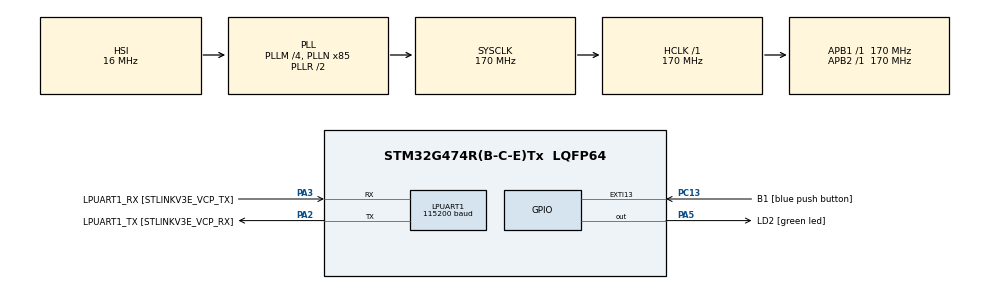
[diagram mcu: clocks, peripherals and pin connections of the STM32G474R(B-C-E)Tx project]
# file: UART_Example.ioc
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LPUART1.BaudRate=115200
LPUART1.WordLength=UART_WORDLENGTH_8B
Mcu.Family=STM32G4
Mcu.Name=STM32G474R(B-C-E)Tx
Mcu.Package=LQFP64
NVIC.EXTI15_10_IRQn=true\:0\:0\:false\:false\:true\:true\:true
NVIC.PriorityGroup=NVIC_PRIORITYGROUP_4
PA13.GPIO_Label=T_SWDIO
PA13.Mode=Serial_Wire
PA13.Signal=SYS_JTMS-SWDIO
PA14.GPIO_Label=T_SWCLK
PA14.Mode=Serial_Wire
PA14.Signal=SYS_JTCK-SWCLK
PA2.GPIO_Label=LPUART1_TX [STLINKV3E_VCP_RX]
PA2.Mode=Asynchronous
PA2.Signal=LPUART1_TX
PA3.GPIO_Label=LPUART1_RX [STLINKV3E_VCP_TX]
PA3.Mode=Asynchronous
PA3.Signal=LPUART1_RX
PA5.GPIO_Label=LD2 [green led]
PA5.Signal=GPIO_Output
PB3.GPIO_Label=T_SWO
PB3.Signal=SYS_JTDO-SWO
PC13.GPIO_Label=B1 [blue push button]
PC13.Signal=GPXTI13
PC14-OSC32_IN.Mode=LSE-External-Oscillator
PC14-OSC32_IN.Signal=RCC_OSC32_IN
PC15-OSC32_OUT.Mode=LSE-External-Oscillator
PC15-OSC32_OUT.Signal=RCC_OSC32_OUT
PF0-OSC_IN.Mode=HSE-External-Oscillator
PF0-OSC_IN.Signal=RCC_OSC_IN
PF1-OSC_OUT.Mode=HSE-External-Oscillator
PF1-OSC_OUT.Signal=RCC_OSC_OUT
ProjectManager.HeapSize=0x200
ProjectManager.StackSize=0x400
ProjectManager.TargetToolchain=STM32CubeIDE
RCC.ADC12Freq_Value=170000000
RCC.ADC345Freq_Value=170000000
RCC.AHBFreq_Value=170000000
RCC.APB1Freq_Value=170000000
RCC.APB1TimFreq_Value=170000000
RCC.APB2Freq_Value=170000000
RCC.APB2TimFreq_Value=170000000
RCC.CortexFreq_Value=170000000
RCC.EXTERNAL_CLOCK_VALUE=12288000
RCC.HCLKFreq_Value=170000000
RCC.HSE_VALUE=24000000
RCC.HSI48_VALUE=48000000
RCC.HSI_VALUE=16000000
RCC.PLLM=RCC_PLLM_DIV4
RCC.PLLN=85
RCC.RTCClockSelection=RCC_RTCCLKSOURCE_LSE
RCC.SYSCLKFreq_VALUE=170000000
RCC.SYSCLKSource=RCC_SYSCLKSOURCE_PLLCLK
RCC.USBFreq_Value=170000000
RCC.VCOOutputFreq_Value=340000000
VP_SYS_VS_DBSignals.Mode=DisableDeadBatterySignals
board=NUCLEO-G474RE

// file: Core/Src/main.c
/* USER CODE BEGIN Header */
/**
  ******************************************************************************
  * @file    UART/UART_Printf/Src/main.c
  * @author  MCD Application Team
  * @brief   This example shows how to retarget the C library printf function
  *          to the UART.
  ******************************************************************************
  * @attention
  *
  * <h2><center>&copy; Copyright (c) 2019 STMicroelectronics.
  * All rights reserved.</center></h2>
  *
  * This software component is licensed by ST under BSD 3-Clause license,
  * the "License"; You may not use this file except in compliance with the
  * License. You may obtain a copy of the License at:
  *                        opensource.org/licenses/BSD-3-Clause
  *
  ******************************************************************************
  */
/* USER CODE END Header */
#include "main.h"

UART_HandleTypeDef hlpuart1;

void SystemClock_Config(void);
static void MX_GPIO_Init(void);
static void MX_LPUART1_UART_Init(void);
/* USER CODE BEGIN PFP */
#ifdef __GNUC__
/* With GCC, small printf (option LD Linker->Libraries->Small printf
   set to 'Yes') calls __io_putchar() */
#define PUTCHAR_PROTOTYPE int __io_putchar(int ch)
#define GETCHAR_PROTOTYPE int __io_getchar()
#else
#define PUTCHAR_PROTOTYPE int fputc(int ch, FILE *f)
#endif /* __GNUC__ */
/* USER CODE END PFP */

int main(void)
{
  /* USER CODE BEGIN 1 */

  /* STM32G4xx HAL library initialization:
       - Configure the Flash prefetch
       - Systick timer is configured by default as source of time base, but user
         can eventually implement his proper time base source (a general purpose
         timer for example or other time source), keeping in mind that Time base
         duration should be kept 1ms since PPP_TIMEOUT_VALUEs are defined and
         handled in milliseconds basis.
       - Set NVIC Group Priority to 4
       - Low Level Initialization
     */
  /* USER CODE END 1 */

  /* MCU Configuration--------------------------------------------------------*/

  /* Reset of all peripherals, Initializes the Flash interface and the Systick. */
  HAL_Init();

  /* Configure the system clock */
  SystemClock_Config();

  /* USER CODE BEGIN SysInit */
  /* Initialize BSP Led for LED2 */
  BSP_LED_Init(LED2);
  /* USER CODE END SysInit */

  /* Initialize all configured peripherals */
  MX_GPIO_Init();
  MX_LPUART1_UART_Init();
  /* USER CODE BEGIN 2 */

  /* Output a message on Hyperterminal using printf function */
  printf("\n\r UART Printf Example: retarget the C library printf function to the UART\n\r");
  printf("** Test finished successfully. ** \n\r");

  char str[20];

  setvbuf(stdin, NULL, _IONBF, 0);

  /* USER CODE END 2 */

  /* Infinite loop */
  /* USER CODE BEGIN WHILE */
  while (1)
  {
	printf("\n\r Enter your name:\n\r");

	scanf("%s",str);

	printf("\n\r Your name is: %s \n\r",str);

    /* USER CODE END WHILE */

  }
}

void SystemClock_Config(void)
{
  RCC_OscInitTypeDef RCC_OscInitStruct = {0};
  RCC_ClkInitTypeDef RCC_ClkInitStruct = {0};
  RCC_PeriphCLKInitTypeDef PeriphClkInit = {0};

  /** Configure the main internal regulator output voltage
  */
  HAL_PWREx_ControlVoltageScaling(PWR_REGULATOR_VOLTAGE_SCALE1_BOOST);
  /** Initializes the RCC Oscillators according to the specified parameters
  * in the RCC_OscInitTypeDef structure.
  */
  RCC_OscInitStruct.OscillatorType = RCC_OSCILLATORTYPE_HSI;
  RCC_OscInitStruct.HSIState = RCC_HSI_ON;
  RCC_OscInitStruct.HSICalibrationValue = RCC_HSICALIBRATION_DEFAULT;
  RCC_OscInitStruct.PLL.PLLState = RCC_PLL_ON;
  RCC_OscInitStruct.PLL.PLLSource = RCC_PLLSOURCE_HSI;
  RCC_OscInitStruct.PLL.PLLM = RCC_PLLM_DIV4;
  RCC_OscInitStruct.PLL.PLLN = 85;
  RCC_OscInitStruct.PLL.PLLP = RCC_PLLP_DIV2;
  RCC_OscInitStruct.PLL.PLLQ = RCC_PLLQ_DIV2;
  RCC_OscInitStruct.PLL.PLLR = RCC_PLLR_DIV2;
  if (HAL_RCC_OscConfig(&RCC_OscInitStruct) != HAL_OK)
  {
    Error_Handler();
  }
  /** Initializes the CPU, AHB and APB buses clocks
  */
  RCC_ClkInitStruct.ClockType = RCC_CLOCKTYPE_HCLK|RCC_CLOCKTYPE_SYSCLK
                              |RCC_CLOCKTYPE_PCLK1|RCC_CLOCKTYPE_PCLK2;
  RCC_ClkInitStruct.SYSCLKSource = RCC_SYSCLKSOURCE_PLLCLK;
  RCC_ClkInitStruct.AHBCLKDivider = RCC_SYSCLK_DIV1;
  RCC_ClkInitStruct.APB1CLKDivider = RCC_HCLK_DIV1;
  RCC_ClkInitStruct.APB2CLKDivider = RCC_HCLK_DIV1;

  if (HAL_RCC_ClockConfig(&RCC_ClkInitStruct, FLASH_LATENCY_4) != HAL_OK)
  {
    Error_Handler();
  }
  /** Initializes the peripherals clocks
  */
  PeriphClkInit.PeriphClockSelection = RCC_PERIPHCLK_LPUART1;
  PeriphClkInit.Lpuart1ClockSelection = RCC_LPUART1CLKSOURCE_PCLK1;
  if (HAL_RCCEx_PeriphCLKConfig(&PeriphClkInit) != HAL_OK)
  {
    Error_Handler();
  }
}

static void MX_LPUART1_UART_Init(void)
{

  hlpuart1.Instance = LPUART1;
  hlpuart1.Init.BaudRate = 115200;
  hlpuart1.Init.WordLength = UART_WORDLENGTH_8B;
  hlpuart1.Init.StopBits = UART_STOPBITS_1;
  hlpuart1.Init.Parity = UART_PARITY_NONE;
  hlpuart1.Init.Mode = UART_MODE_TX_RX;
  hlpuart1.Init.HwFlowCtl = UART_HWCONTROL_NONE;
  hlpuart1.Init.OneBitSampling = UART_ONE_BIT_SAMPLE_DISABLE;
  hlpuart1.Init.ClockPrescaler = UART_PRESCALER_DIV1;
  hlpuart1.AdvancedInit.AdvFeatureInit = UART_ADVFEATURE_NO_INIT;
  if (HAL_UART_Init(&hlpuart1) != HAL_OK)
  {
    Error_Handler();
  }
  if (HAL_UARTEx_SetTxFifoThreshold(&hlpuart1, UART_TXFIFO_THRESHOLD_1_8) != HAL_OK)
  {
    Error_Handler();
  }
  if (HAL_UARTEx_SetRxFifoThreshold(&hlpuart1, UART_RXFIFO_THRESHOLD_1_8) != HAL_OK)
  {
    Error_Handler();
  }
  if (HAL_UARTEx_DisableFifoMode(&hlpuart1) != HAL_OK)
  {
    Error_Handler();
  }

}

static void MX_GPIO_Init(void)
{
  GPIO_InitTypeDef GPIO_InitStruct = {0};

  /* GPIO Ports Clock Enable */
  __HAL_RCC_GPIOC_CLK_ENABLE();
  __HAL_RCC_GPIOF_CLK_ENABLE();
  __HAL_RCC_GPIOA_CLK_ENABLE();
  __HAL_RCC_GPIOB_CLK_ENABLE();

  /*Configure GPIO pin Output Level */
  HAL_GPIO_WritePin(LD2_GPIO_Port, LD2_Pin, GPIO_PIN_RESET);

  /*Configure GPIO pin : B1_Pin */
  GPIO_InitStruct.Pin = B1_Pin;
  GPIO_InitStruct.Mode = GPIO_MODE_IT_RISING;
  GPIO_InitStruct.Pull = GPIO_NOPULL;
  HAL_GPIO_Init(B1_GPIO_Port, &GPIO_InitStruct);

  /*Configure GPIO pin : LD2_Pin */
  GPIO_InitStruct.Pin = LD2_Pin;
  GPIO_InitStruct.Mode = GPIO_MODE_OUTPUT_PP;
  GPIO_InitStruct.Pull = GPIO_NOPULL;
  GPIO_InitStruct.Speed = GPIO_SPEED_FREQ_LOW;
  HAL_GPIO_Init(LD2_GPIO_Port, &GPIO_InitStruct);

  /* EXTI interrupt init*/
  HAL_NVIC_SetPriority(EXTI15_10_IRQn, 0, 0);
  HAL_NVIC_EnableIRQ(EXTI15_10_IRQn);

}

/* USER CODE BEGIN 4 */
/**
  * @brief  Retargets the C library printf and scanf functions to the UART.
  * @param  None
  * @retval None
  */

PUTCHAR_PROTOTYPE
{
  /* Place your implementation of fputc here */
  /* e.g. write a character to the LPUART1 and Loop until the end of transmission */
  HAL_UART_Transmit(&hlpuart1, (uint8_t *)&ch, 1, 0xFFFF);

  return ch;
}

GETCHAR_PROTOTYPE
{
	uint8_t ch;

	HAL_UART_Receive(&hlpuart1, &ch, 1, 0xFFFF);

	return ch;
}

/* USER CODE END 4 */

void Error_Handler(void)
{
  /* USER CODE BEGIN Error_Handler_Debug */
  /* User can add his own implementation to report the HAL error return state */
  while (1)
  {
    /* Toggle LED2 for error */
    BSP_LED_Toggle(LED2);
    HAL_Delay(500);
  }
  /* USER CODE END Error_Handler_Debug */
}

/************************ (C) COPYRIGHT STMicroelectronics *****END OF FILE****/
